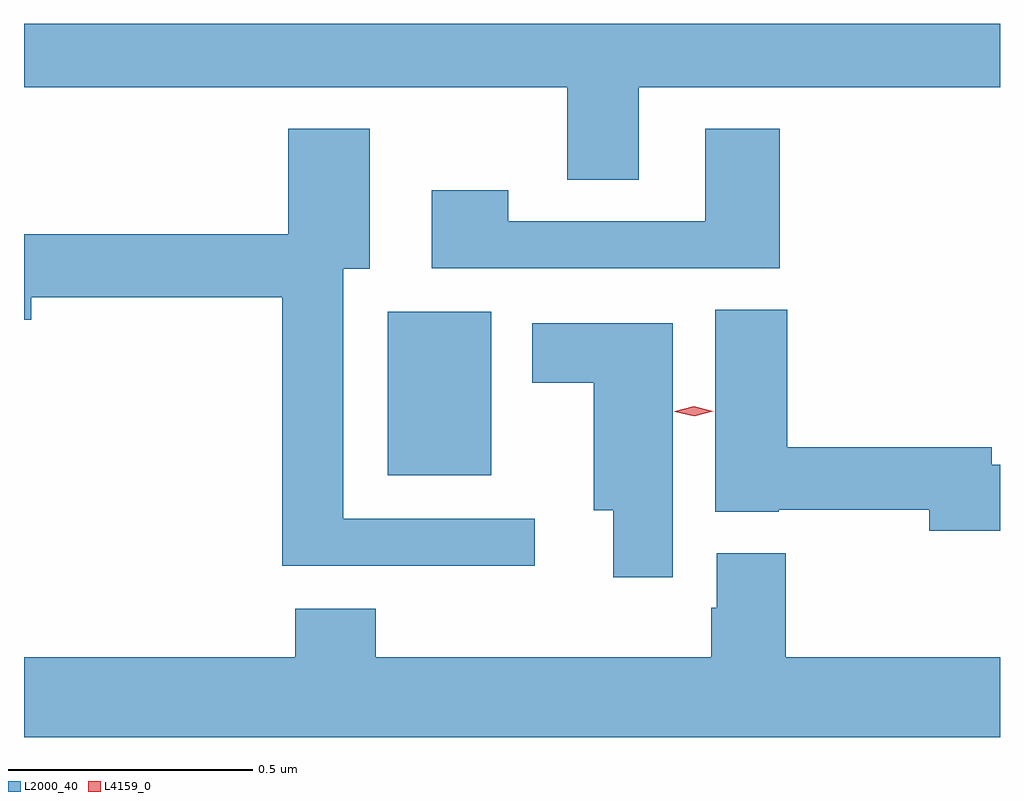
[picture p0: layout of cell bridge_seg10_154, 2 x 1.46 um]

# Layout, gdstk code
import gdstk
lib = gdstk.Library(unit=1e-6, precision=1e-09)
def R(c, l, rs):  # rectangles x0, y0, x1, y1
    for r in rs: c.add(gdstk.rectangle(r[:2], r[2:], *l))
def P(c, l, *ps):  # polygons
    for p in ps: c.add(gdstk.Polygon(p, *l))
L2000_40 = (2000, 40)
L4159_0 = (4159, 0)

bridge_seg10_154 = lib.new_cell('bridge_seg10_154')
R(bridge_seg10_154, L2000_40, [(303.428,1260.893,303.64,1261.228)])
P(bridge_seg10_154, L2000_40, [(303.943,1261.688),(304.683,1261.688),(304.683,1261.818),(302.683,1261.818),(302.683,1261.688),(303.796,1261.688),(303.796,1261.498),(303.943,1261.498)],
  [(303.73,1260.804),(303.337,1260.804),(303.337,1261.316),(303.391,1261.316),(303.391,1261.603),(303.224,1261.603),(303.224,1261.387),(302.683,1261.387),(302.683,1261.211),(302.698,1261.211),(302.698,1261.258),(303.212,1261.258),(303.212,1260.707),(303.73,1260.707)],
  [(304.232,1261.603),(304.079,1261.603),(304.079,1261.413),(303.675,1261.413),(303.675,1261.477),(303.519,1261.477),(303.519,1261.317),(304.232,1261.317)],
  [(304.683,1260.914),(304.666,1260.914),(304.666,1260.95),(304.247,1260.95),(304.247,1261.232),(304.1,1261.232),(304.1,1260.818),(304.23,1260.818),(304.23,1260.822),(304.538,1260.822),(304.538,1260.779),(304.683,1260.779)],
  [(304.012,1261.204),(303.725,1261.204),(303.725,1261.082),(303.851,1261.082),(303.851,1260.821),(303.89,1260.821),(303.89,1260.684),(304.012,1260.684)],
  [(304.683,1260.52),(304.244,1260.52),(304.244,1260.733),(304.103,1260.733),(304.103,1260.621),(304.091,1260.621),(304.091,1260.52),(303.404,1260.52),(303.404,1260.619),(303.239,1260.619),(303.239,1260.52),(302.683,1260.52),(302.683,1260.356),(304.683,1260.356)])
P(bridge_seg10_154, L4159_0, [(304.056,1261.014),(304.016,1261.023),(304.016,1261.024),(304.016,1261.024),(304.055,1261.034),(304.095,1261.024),(304.095,1261.024),(304.095,1261.024)])

lib.write_gds('bridge_seg10_154.gds')
